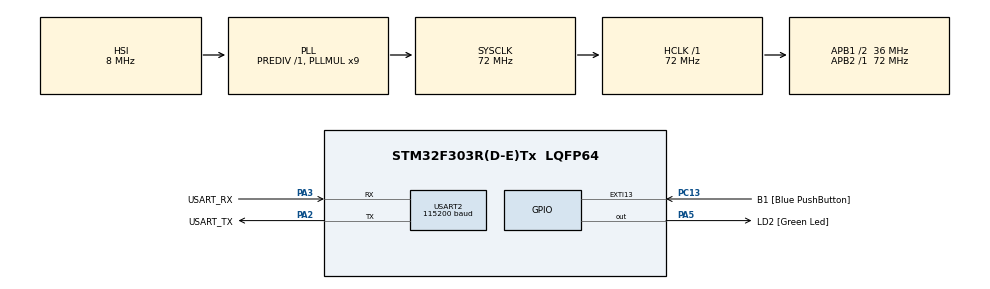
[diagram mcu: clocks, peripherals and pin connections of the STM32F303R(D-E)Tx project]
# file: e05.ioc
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Mcu.Family=STM32F3
Mcu.Name=STM32F303R(D-E)Tx
Mcu.Package=LQFP64
NVIC.PriorityGroup=NVIC_PRIORITYGROUP_0
NVIC.USART2_IRQn=true\:0\:0\:false\:false\:true\:true\:true
PA13.GPIO_Label=TMS
PA13.Mode=Serial_Wire
PA13.Signal=SYS_JTMS-SWDIO
PA14.GPIO_Label=TCK
PA14.Mode=Serial_Wire
PA14.Signal=SYS_JTCK-SWCLK
PA2.GPIO_Label=USART_TX
PA2.GPIO_Mode=GPIO_MODE_AF_PP
PA2.GPIO_PuPd=GPIO_NOPULL
PA2.GPIO_Speed=GPIO_SPEED_FREQ_LOW
PA2.Mode=Asynchronous
PA2.Signal=USART2_TX
PA3.GPIO_Label=USART_RX
PA3.GPIO_Mode=GPIO_MODE_AF_PP
PA3.GPIO_PuPd=GPIO_NOPULL
PA3.GPIO_Speed=GPIO_SPEED_FREQ_LOW
PA3.Mode=Asynchronous
PA3.Signal=USART2_RX
PA5.GPIO_Label=LD2 [Green Led]
PA5.GPIO_Mode=GPIO_MODE_OUTPUT_PP
PA5.GPIO_PuPd=GPIO_NOPULL
PA5.GPIO_Speed=GPIO_SPEED_FREQ_LOW
PA5.Signal=GPIO_Output
PB3.GPIO_Label=SWO
PB3.Signal=SYS_JTDO-TRACESWO
PC13.GPIO_Label=B1 [Blue PushButton]
PC13.GPIO_ModeDefaultEXTI=GPIO_MODE_IT_FALLING
PC13.Signal=GPXTI13
PC14-OSC32_IN.Mode=LSE-External-Oscillator
PC14-OSC32_IN.Signal=RCC_OSC32_IN
PC15-OSC32_OUT.Mode=LSE-External-Oscillator
PC15-OSC32_OUT.Signal=RCC_OSC32_OUT
PF0-OSC_IN.Mode=HSE-External-Clock-Source
PF0-OSC_IN.Signal=RCC_OSC_IN
PF1-OSC_OUT.Signal=RCC_OSC_OUT
ProjectManager.HeapSize=0x200
ProjectManager.StackSize=0x400
ProjectManager.TargetToolchain=STM32CubeIDE
RCC.AHBFreq_Value=72000000
RCC.APB1CLKDivider=RCC_HCLK_DIV2
RCC.APB1Freq_Value=36000000
RCC.APB1TimFreq_Value=72000000
RCC.APB2Freq_Value=72000000
RCC.APB2TimFreq_Value=72000000
RCC.CortexFreq_Value=72000000
RCC.HCLKFreq_Value=72000000
RCC.HSE_VALUE=8000000
RCC.HSI_VALUE=8000000
RCC.PLLM=8
RCC.PLLMUL=RCC_PLL_MUL9
RCC.PLLN=336
RCC.PLLP=RCC_PLLP_DIV4
RCC.PLLQ=7
RCC.RCC_PLLsource_Clock_Source_FROM_HSE=RCC_HSE_PREDIV_DIV2
RCC.SYSCLKFreq_VALUE=72000000
RCC.SYSCLKSourceVirtual=RCC_SYSCLKSOURCE_PLLCLK
RCC.USBFreq_Value=72000000
USART2.BaudRate=115200
USART2.Mode=MODE_TX_RX
USART2.VirtualMode-Asynchronous=VM_ASYNC
board=NUCLEO-F303RE

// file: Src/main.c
/* USER CODE BEGIN Header */
/**
  ******************************************************************************
  * @file           : main.c
  * @brief          : Main program body
  ******************************************************************************
  * @attention
  *
  * <h2><center>&copy; Copyright (c) 2019 STMicroelectronics.
  * All rights reserved.</center></h2>
  *
  * This software component is licensed by ST under BSD 3-Clause license,
  * the "License"; You may not use this file except in compliance with the
  * License. You may obtain a copy of the License at:
  *                        opensource.org/licenses/BSD-3-Clause
  *
  ******************************************************************************
  */
/* USER CODE END Header */

#include "main.h"
#include "usart.h"
#include "gpio.h"

/* USER CODE BEGIN Includes */
#include <stdio.h>
/* USER CODE END Includes */

/* USER CODE BEGIN PV */
uint8_t znak, komunikat[20];
uint16_t dl_kom;
/* USER CODE END PV */

void SystemClock_Config(void);

int main(void)
{

  /* MCU Configuration--------------------------------------------------------*/

  /* Reset of all peripherals, Initializes the Flash interface and the Systick. */
  HAL_Init();

  /* Configure the system clock */
  SystemClock_Config();

  /* Initialize all configured peripherals */
  MX_GPIO_Init();
  MX_USART2_UART_Init();
  /* USER CODE BEGIN 2 */
  HAL_UART_Receive_IT(&huart2, &znak, 1);
  /* USER CODE END 2 */

  /* Infinite loop */
  while (1)
  {

  }
}

void SystemClock_Config(void)
{
  RCC_OscInitTypeDef RCC_OscInitStruct = {0};
  RCC_ClkInitTypeDef RCC_ClkInitStruct = {0};
  RCC_PeriphCLKInitTypeDef PeriphClkInit = {0};

  /** Initializes the CPU, AHB and APB busses clocks
  */
  RCC_OscInitStruct.OscillatorType = RCC_OSCILLATORTYPE_HSI;
  RCC_OscInitStruct.HSIState = RCC_HSI_ON;
  RCC_OscInitStruct.HSICalibrationValue = RCC_HSICALIBRATION_DEFAULT;
  RCC_OscInitStruct.PLL.PLLState = RCC_PLL_ON;
  RCC_OscInitStruct.PLL.PLLSource = RCC_PLLSOURCE_HSI;
  RCC_OscInitStruct.PLL.PLLMUL = RCC_PLL_MUL9;
  RCC_OscInitStruct.PLL.PREDIV = RCC_PREDIV_DIV1;
  if (HAL_RCC_OscConfig(&RCC_OscInitStruct) != HAL_OK)
  {
    Error_Handler();
  }
  /** Initializes the CPU, AHB and APB busses clocks
  */
  RCC_ClkInitStruct.ClockType = RCC_CLOCKTYPE_HCLK|RCC_CLOCKTYPE_SYSCLK
                              |RCC_CLOCKTYPE_PCLK1|RCC_CLOCKTYPE_PCLK2;
  RCC_ClkInitStruct.SYSCLKSource = RCC_SYSCLKSOURCE_PLLCLK;
  RCC_ClkInitStruct.AHBCLKDivider = RCC_SYSCLK_DIV1;
  RCC_ClkInitStruct.APB1CLKDivider = RCC_HCLK_DIV2;
  RCC_ClkInitStruct.APB2CLKDivider = RCC_HCLK_DIV1;

  if (HAL_RCC_ClockConfig(&RCC_ClkInitStruct, FLASH_LATENCY_2) != HAL_OK)
  {
    Error_Handler();
  }
  PeriphClkInit.PeriphClockSelection = RCC_PERIPHCLK_USART2;
  PeriphClkInit.Usart2ClockSelection = RCC_USART2CLKSOURCE_PCLK1;
  if (HAL_RCCEx_PeriphCLKConfig(&PeriphClkInit) != HAL_OK)
  {
    Error_Handler();
  }
}

/* USER CODE BEGIN 4 */
void HAL_UART_RxCpltCallback(UART_HandleTypeDef *huart)
{
	if(huart->Instance == USART2)
	{
		if(znak == 'e')
		{
			HAL_GPIO_WritePin(LD2_GPIO_Port, LD2_Pin, GPIO_PIN_SET);
			dl_kom = sprintf((char *)komunikat, "DIODA ON\n");
		}
		else if(znak == 'd')
		{
			HAL_GPIO_WritePin(LD2_GPIO_Port, LD2_Pin, GPIO_PIN_RESET);
			dl_kom = sprintf((char *)komunikat, "DIODA OFF\n");
		}
		else
		{
			dl_kom = sprintf((char *)komunikat, "ZLY ZNAK\n");
		}
		HAL_UART_Transmit_IT(&huart2, komunikat, dl_kom);
		HAL_UART_Receive_IT(&huart2, &znak, 1);
	}
}
/* USER CODE END 4 */

void Error_Handler(void)
{
}

/************************ (C) COPYRIGHT STMicroelectronics *****END OF FILE****/
